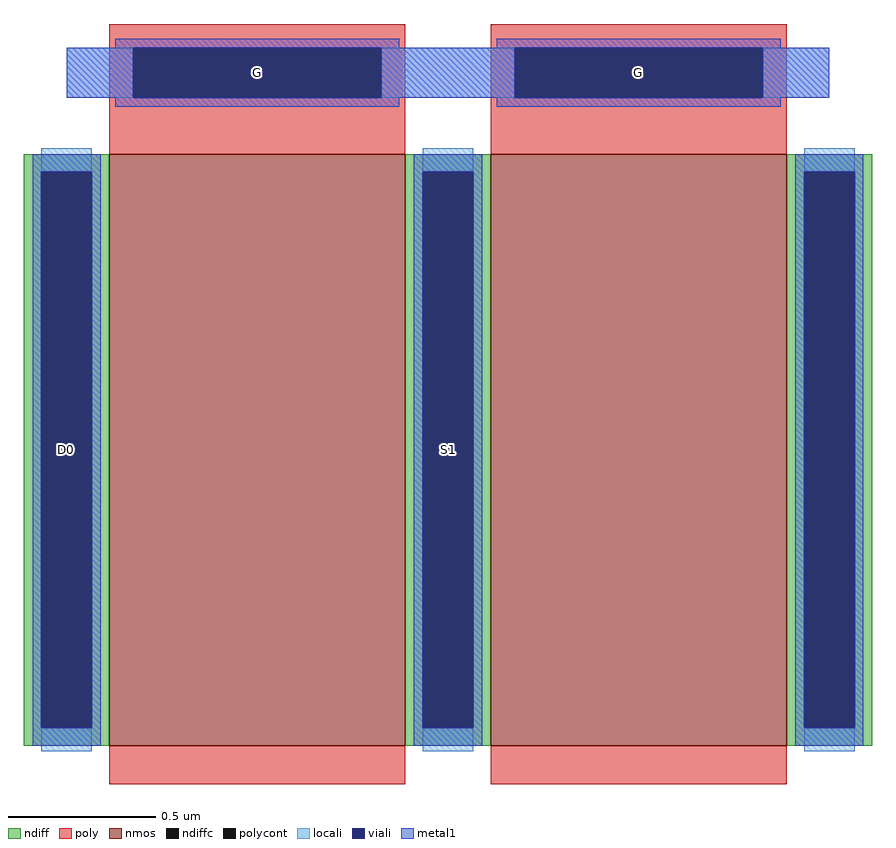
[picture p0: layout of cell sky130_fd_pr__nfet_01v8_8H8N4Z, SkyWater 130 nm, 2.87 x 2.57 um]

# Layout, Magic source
magic
tech sky130A
magscale 1 2
<< nmos >>
rect -229 -231 -29 169
rect 29 -231 229 169
<< ndiff >>
rect -287 157 -229 169
rect -287 -219 -275 157
rect -241 -219 -229 157
rect -287 -231 -229 -219
rect -29 157 29 169
rect -29 -219 -17 157
rect 17 -219 29 157
rect -29 -231 29 -219
rect 229 157 287 169
rect 229 -219 241 157
rect 275 -219 287 157
rect 229 -231 287 -219
<< ndiffc >>
rect -275 -219 -241 157
rect -17 -219 17 157
rect 241 -219 275 157
<< poly >>
rect -229 241 -29 257
rect -229 207 -213 241
rect -45 207 -29 241
rect -229 169 -29 207
rect 29 241 229 257
rect 29 207 45 241
rect 213 207 229 241
rect 29 169 229 207
rect -229 -257 -29 -231
rect 29 -257 229 -231
<< polycont >>
rect -213 207 -45 241
rect 45 207 213 241
<< locali >>
rect -258 207 -213 241
rect -45 207 45 241
rect 213 207 258 241
rect -275 157 -241 173
rect -275 -235 -241 -219
rect -17 157 17 173
rect -17 -235 17 -219
rect 241 157 275 173
rect 241 -235 275 -219
<< viali >>
rect -213 207 -45 241
rect 45 207 213 241
rect -275 -219 -241 157
rect -17 -219 17 157
rect 241 -219 275 157
<< metal1 >>
rect -225 241 -33 247
rect 33 241 225 247
rect -258 207 -213 241
rect -45 207 45 241
rect 213 207 258 241
rect -225 201 -33 207
rect 33 201 225 207
rect -281 157 -235 169
rect -281 -219 -275 157
rect -241 -219 -235 157
rect -281 -231 -235 -219
rect -23 157 23 169
rect -23 -219 -17 157
rect 17 -219 23 157
rect -23 -231 23 -219
rect 235 157 281 169
rect 235 -219 241 157
rect 275 -219 281 157
rect 235 -231 281 -219
<< labels >>
rlabel ndiffc -258 -31 -258 -31 0 D0
port 1 nsew
rlabel polycont -129 224 -129 224 0 G
port 2 nsew
rlabel ndiffc 0 -31 0 -31 0 S1
port 3 nsew
rlabel polycont 129 224 129 224 0 G
port 2 nsew
<< properties >>
string gencell sky130_fd_pr__nfet_01v8
string library sky130
string parameters w 2 l 1 m 1 nf 2 diffcov 100 polycov 100 guard 0 glc 1 grc 1 gtc 1 gbc 1 tbcov 100 rlcov 100 topc 1 botc 0 poverlap 0 doverlap 1 lmin 0.15 wmin 0.42 class mosfet compatible {sky130_fd_pr__nfet_01v8 sky130_fd_pr__nfet_01v8_lvt  sky130_fd_bs_flash__special_sonosfet_star  sky130_fd_pr__nfet_g5v0d10v5 sky130_fd_pr__nfet_05v0_nvt  sky130_fd_pr__nfet_03v3_nvt} full_metal 0 conn_gates 1 viasrc 100 viadrn 100 viagate 100 viagb 0 viagr 0 viagl 0 viagt 0 doports 1
<< end >>
